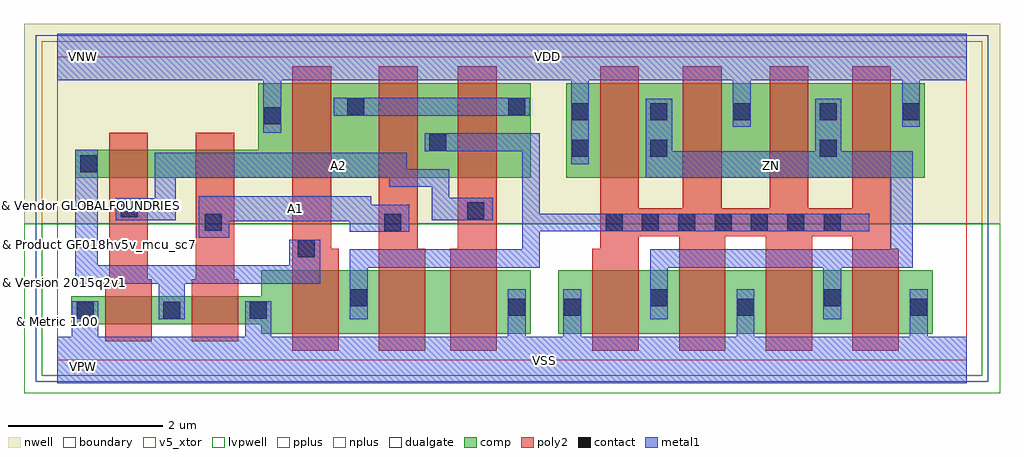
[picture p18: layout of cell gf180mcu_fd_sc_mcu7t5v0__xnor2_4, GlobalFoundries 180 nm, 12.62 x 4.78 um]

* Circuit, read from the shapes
.subckt gf180mcu_fd_sc_mcu7t5v0__xnor2_4 A1 A2 VDD VNW VSS ZN
XM1 n1 A2 VSS VSUBS nfet_05v0 w=0.36u l=0.6u
XM2 VSS A1 n1 VSUBS nfet_05v0 w=0.36u l=0.6u
XM3 n2 n1 VSS VSUBS nfet_05v0 w=0.82u l=0.6u
XM4 n3 A1 n2 VSUBS nfet_05v0 w=0.82u l=0.6u
XM5 VSS A2 n3 VSUBS nfet_05v0 w=0.82u l=0.6u
XM6 ZN n2 VSS VSUBS nfet_05v0 w=0.82u l=0.6u m=4
XM7 n4 A2 n1 VNW pfet_05v0 w=0.36u l=0.5u
XM8 VDD A1 n4 VNW pfet_05v0 w=0.36u l=0.5u
XM9 n5 n1 VDD VNW pfet_05v0 w=1.22u l=0.5u
XM10 n2 A1 n5 VNW pfet_05v0 w=1.22u l=0.5u
XM11 n5 A2 n2 VNW pfet_05v0 w=1.22u l=0.5u
XM12 ZN n2 VDD VNW pfet_05v0 w=1.22u l=0.5u m=4
.ends

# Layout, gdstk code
import gdstk
lib = gdstk.Library(unit=1e-6, precision=1e-09)
def R(c, l, rs):  # rectangles x0, y0, x1, y1
    for r in rs: c.add(gdstk.rectangle(r[:2], r[2:], *l))
def A(c, l, x, y, w, h, nx, ny, dx, dy):  # array of equal rectangles
    R(c, l, [(x+i*dx, y+j*dy, x+i*dx+w, y+j*dy+h) for i in range(nx) for j in range(ny)])
def P(c, l, *ps):  # polygons
    for p in ps: c.add(gdstk.Polygon(p, *l))
boundary = (0, 0)
nwell = (21, 0)
comp = (22, 0)
poly2 = (30, 0)
pplus = (31, 0)
nplus = (32, 0)
contact = (33, 0)
metal1 = (34, 0)
dualgate = (55, 0)
v5_xtor = (112, 1)
lvpwell = (204, 0)

gf180mcu_fd_sc_mcu7t5v0_ = lib.new_cell('gf180mcu_fd_sc_mcu7t5v0__xnor2_4')
R(gf180mcu_fd_sc_mcu7t5v0_, boundary, [(0,0,11.76,3.92)])
R(gf180mcu_fd_sc_mcu7t5v0_, nwell, [(-0.43,1.76,12.19,4.35)])
R(gf180mcu_fd_sc_mcu7t5v0_, comp, [(6.48,0.34,11.32,1.16), (6.58,2.36,11.22,3.58)])
P(gf180mcu_fd_sc_mcu7t5v0_, comp, [(2.64,0.34),(2.64,0.465),(0.18,0.465),(0.18,0.825),(2.64,0.825),(2.64,1.16),(6.12,1.16),(6.12,0.34)],
  [(0.23,2.36),(0.23,2.72),(2.6,2.72),(2.6,3.58),(6.12,3.58),(6.12,2.36)])
P(gf180mcu_fd_sc_mcu7t5v0_, poly2, [(0.62,0.245),(0.62,1.045),(0.67,1.045),(0.67,2.94),(1.17,2.94),(1.17,1.045),(1.22,1.045),(1.22,0.245)],
  [(1.74,0.245),(1.74,1.045),(1.79,1.045),(1.79,2.94),(2.29,2.94),(2.29,1.045),(2.34,1.045),(2.34,0.245)],
  [(3.04,0.12),(3.04,3.8),(3.54,3.8),(3.54,1.44),(3.64,1.44),(3.64,0.12)],
  [(4.16,0.12),(4.16,3.8),(4.66,3.8),(4.66,1.44),(4.76,1.44),(4.76,0.12)],
  [(5.08,0.12),(5.08,1.44),(5.18,1.44),(5.18,3.8),(5.68,3.8),(5.68,0.12)],
  [(6.92,0.12),(6.92,1.44),(7.02,1.44),(7.02,3.8),(7.52,3.8),(7.52,1.96),(8.09,1.96),(8.09,3.8),(8.59,3.8),(8.59,1.96),(9.21,1.96),(9.21,3.8),(9.71,3.8),(9.71,1.96),(10.28,1.96),(10.28,3.8),(10.78,3.8),(10.78,1.44),(10.88,1.44),(10.88,0.12),(10.28,0.12),(10.28,1.6),(9.76,1.6),(9.76,0.12),(9.16,0.12),(9.16,1.6),(8.64,1.6),(8.64,0.12),(8.04,0.12),(8.04,1.6),(7.52,1.6),(7.52,0.12)])
R(gf180mcu_fd_sc_mcu7t5v0_, pplus, [(-0.2,1.76,11.96,4.12)])
R(gf180mcu_fd_sc_mcu7t5v0_, nplus, [(-0.2,-0.2,11.96,1.76)])
A(gf180mcu_fd_sc_mcu7t5v0_, contact, 0.25, 0.535, 0.22, 0.22, 3, 1, 1.12, 0)
A(gf180mcu_fd_sc_mcu7t5v0_, contact, 6.55, 0.57, 0.22, 0.22, 3, 1, 2.24, 0)
A(gf180mcu_fd_sc_mcu7t5v0_, contact, 7.09, 1.67, 0.22, 0.22, 7, 1, 0.47, 0)
R(gf180mcu_fd_sc_mcu7t5v0_, contact, [(5.83,0.57,6.05,0.79), (3.79,0.695,4.01,0.915), (7.67,0.695,7.89,0.915), (9.91,0.695,10.13,0.915), (3.11,1.33,3.33,1.55), (1.91,1.67,2.13,1.89), (4.23,1.67,4.45,1.89), (5.3,1.82,5.52,2.04), (0.82,1.845,1.04,2.065), (0.3,2.43,0.52,2.65), (6.65,2.63,6.87,2.85), (7.67,2.63,7.89,2.85), (9.86,2.63,10.08,2.85), (4.81,2.705,5.03,2.925), (2.67,3.05,2.89,3.27), (6.65,3.1,6.87,3.32), (7.67,3.1,7.89,3.32), (8.74,3.1,8.96,3.32), (9.86,3.1,10.08,3.32), (10.93,3.1,11.15,3.32), (3.75,3.165,3.97,3.385), (5.83,3.165,6.05,3.385)])
R(gf180mcu_fd_sc_mcu7t5v0_, metal1, [(3.575,3.16,6.11,3.39)])
P(gf180mcu_fd_sc_mcu7t5v0_, metal1, [(1.31,0.53),(1.31,0.99),(0.23,0.99),(0.23,2.72),(0.525,2.72),(0.525,1.225),(3,1.225),(3,1.555),(3.4,1.555),(3.4,0.99),(1.65,0.99),(1.65,0.53)],
  [(1.83,1.58),(1.83,2.12),(4.06,2.12),(4.06,2.01),(4.55,2.01),(4.55,1.66),(3.785,1.66),(3.785,1.795),(2.225,1.795),(2.225,1.58)],
  [(0.755,1.81),(0.755,2.095),(1.26,2.095),(1.26,2.68),(4.52,2.68),(4.52,2.47),(5.07,2.47),(5.07,2.1),(5.63,2.1),(5.63,1.81),(4.84,1.81),(4.84,2.24),(4.29,2.24),(4.29,2.36),(1.535,2.36),(1.535,1.81)],
  [(3.785,0.53),(3.785,1.43),(6.01,1.43),(6.01,2.7),(4.75,2.7),(4.75,2.93),(6.24,2.93),(6.24,1.895),(10.5,1.895),(10.5,1.665),(6.24,1.665),(6.24,1.195),(4.015,1.195),(4.015,0.53)],
  [(7.665,0.53),(7.665,1.43),(10.775,1.43),(10.775,2.36),(7.61,2.36),(7.61,3.38),(7.95,3.38),(7.95,2.7),(9.8,2.7),(9.8,3.38),(10.14,3.38),(10.14,2.7),(11.06,2.7),(11.06,1.195),(10.135,1.195),(10.135,0.53),(9.905,0.53),(9.905,1.195),(7.895,1.195),(7.895,0.53)],
  [(0,-0.3),(0,0.3),(0.19,0.3),(0.19,0.76),(0.53,0.76),(0.53,0.3),(2.43,0.3),(2.43,0.76),(2.77,0.76),(2.77,0.3),(5.825,0.3),(5.825,0.915),(6.055,0.915),(6.055,0.3),(6.545,0.3),(6.545,0.915),(6.775,0.915),(6.775,0.3),(8.785,0.3),(8.785,0.915),(9.015,0.915),(9.015,0.3),(11.025,0.3),(11.025,0.915),(11.255,0.915),(11.255,0.3),(11.76,0.3),(11.76,-0.3)],
  [(6.645,2.53),(6.645,3.62),(2.895,3.62),(2.895,2.94),(2.665,2.94),(2.665,3.62),(0,3.62),(0,4.22),(11.76,4.22),(11.76,3.62),(11.155,3.62),(11.155,3.015),(10.925,3.015),(10.925,3.62),(8.965,3.62),(8.965,3.015),(8.735,3.015),(8.735,3.62),(6.875,3.62),(6.875,2.53)])
R(gf180mcu_fd_sc_mcu7t5v0_, dualgate, [(-0.28,-0.28,12.04,4.2)])
R(gf180mcu_fd_sc_mcu7t5v0_, v5_xtor, [(0,0,11.76,3.92)])
R(gf180mcu_fd_sc_mcu7t5v0_, lvpwell, [(-0.43,-0.43,12.19,1.76)])
gf180mcu_fd_sc_mcu7t5v0_.add(gdstk.Label('VDD', (6.345,3.925), layer=34, texttype=10))
gf180mcu_fd_sc_mcu7t5v0_.add(gdstk.Label('VSS', (6.295,-0.01), layer=34, texttype=10))
gf180mcu_fd_sc_mcu7t5v0_.add(gdstk.Label('ZN', (9.24,2.52), layer=34, texttype=10))
gf180mcu_fd_sc_mcu7t5v0_.add(gdstk.Label('A1', (3.08,1.96), layer=34, texttype=10))
gf180mcu_fd_sc_mcu7t5v0_.add(gdstk.Label('A2', (3.64,2.52), layer=34, texttype=10))
gf180mcu_fd_sc_mcu7t5v0_.add(gdstk.Label('& Vendor GLOBALFOUNDRIES', (0,2), layer=63, texttype=63))
gf180mcu_fd_sc_mcu7t5v0_.add(gdstk.Label('& Product GF018hv5v_mcu_sc7', (0,1.5), layer=63, texttype=63))
gf180mcu_fd_sc_mcu7t5v0_.add(gdstk.Label('& Version 2015q2v1', (0,1), layer=63, texttype=63))
gf180mcu_fd_sc_mcu7t5v0_.add(gdstk.Label('& Metric 1.00', (0,0.5), layer=63, texttype=63))
gf180mcu_fd_sc_mcu7t5v0_.add(gdstk.Label('VNW', (0.345,3.92), layer=21, texttype=10))
gf180mcu_fd_sc_mcu7t5v0_.add(gdstk.Label('VPW', (0.34,-0.085), layer=204, texttype=10))

lib.write_gds('gf180mcu_fd_sc_mcu7t5v0__xnor2_4.gds')
